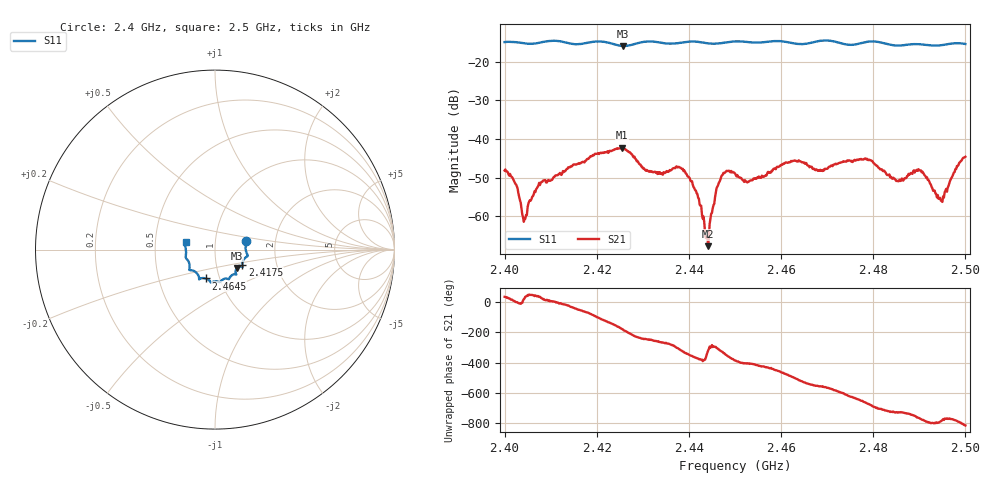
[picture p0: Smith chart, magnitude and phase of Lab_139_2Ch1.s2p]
# Hz S RI R 50
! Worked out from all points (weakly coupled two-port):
!   601 points, 2.4 GHz to 2.5 GHz, reference 50 ohm
!   highest |S21| = -42.25 dB at 2.4255 GHz (marker M1); lowest = -67.7 dB at 2.4442 GHz (marker M2)
!   lowest |S11| = -15.9 dB at 2.4257 GHz (marker M3), VSWR 1.38, Z = 62.5 - j13.1 ohm
!   |S11| at or under -10 dB: start of sweep to end of sweep
!   S12 and S22 are empty: the file has one direction only
!   S11 on the Smith chart (normalised r, x): 2.4 GHz: 1.41, +0.14; 2.4175 GHz: 1.34, -0.23; 2.4645 GHz: 0.86, -0.28; 2.5 GHz: 0.72, +0.06
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2.4e9  0.1727 0.0486  0.00315 0.00233  0 0  0 0
2.402333e9  0.1751 0.0385  0.00264 0.000138  0 0  0 0
2.404333e9  0.1713 0.0217  0.000834 0.000412  0 0  0 0
2.407833e9  0.1763 -0.0185  0.00232 0.00144  0 0  0 0
2.416667e9  0.153 -0.0738  0.00294 -0.00403  0 0  0 0
2.4175e9  0.152 -0.0833  0.00238 -0.00465  0 0  0 0
2.4255e9  0.124 -0.101  -0.00771 -0.000335  0 0  0 0
2.425667e9  0.1227 -0.1021  -0.00754 -6.91e-05  0 0  0 0
2.433333e9  0.1133 -0.1374  -0.000784 0.00364  0 0  0 0
2.439e9  0.0802 -0.1594  0.00351 0.00179  0 0  0 0
2.441667e9  0.0754 -0.1648  0.00197 -0.000345  0 0  0 0
2.444167e9  0.0622 -0.1609  0.000314 0.000268  0 0  0 0
2.447e9  0.0405 -0.1688  0.00265 0.00188  0 0  0 0
2.45e9  0.0287 -0.1807  0.00323 -0.00158  0 0  0 0
2.453e9  0.0174 -0.178  0.002 -0.00198  0 0  0 0
2.4645e9  -0.0519 -0.1607  -0.00479 -0.00146  0 0  0 0
2.466667e9  -0.076 -0.1594  -0.00435 0.000465  0 0  0 0
2.478167e9  -0.1362 -0.1153  0.00293 0.00477  0 0  0 0
2.483333e9  -0.1413 -0.0903  0.00343 -7.66e-05  0 0  0 0
2.490333e9  -0.163 -0.0385  0.00234 -0.00317  0 0  0 0
2.494833e9  -0.1634 0.00776  0.000676 -0.00143  0 0  0 0
2.5e9  -0.1638 0.0433  -0.00065 -0.00587  0 0  0 0
